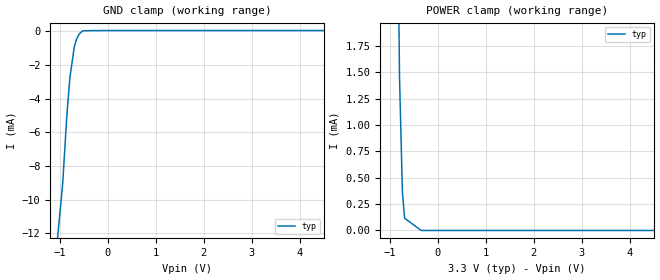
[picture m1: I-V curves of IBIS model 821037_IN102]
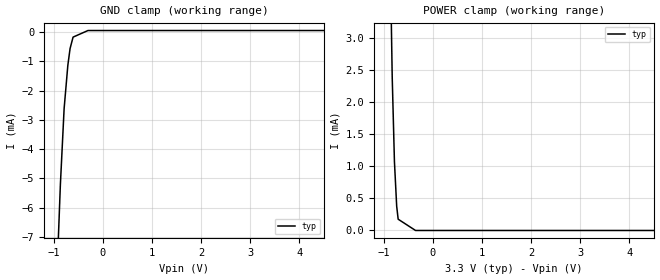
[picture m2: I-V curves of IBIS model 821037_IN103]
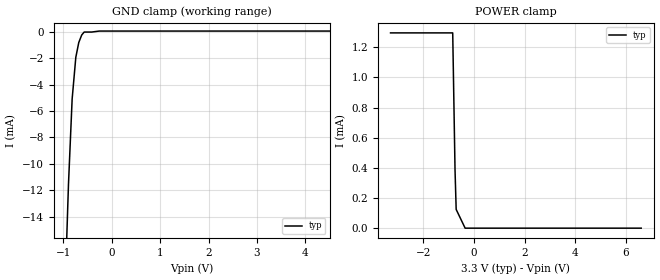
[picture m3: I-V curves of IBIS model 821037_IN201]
| COPYRIGHT(C) MENTOR GRAPHICS CORPORATION 2002 ALL
| RIGHTS RESERVED. THIS WORK CONTAINS PROPRIETARY
| INFORMATION WHICH IS THE PROPERTY OF MENTOR GRAPHICS
| CORPORATION OR ITS LICENSORS. USE OF THESE MATERIALS
| IS SUBJECT TO THE TERMS BELOW.
| USE: MENTOR GRAPHICS HAS LICENSED IBIS MODELS TO
| SPECIFIC INTEGRATED CIRCUIT SUPPLIERS ("IC VENDORS")
| FOR USE AND DISTRIBUTION AS FOLLOWS: EACH IC VENDOR
| MAY USE IBIS MODELS, AND DISTRIBUTE THEM TO IC VENDOR'S
| CUSTOMERS TO USE, SOLELY FOR DEVELOPING PRINTED
| CIRCUIT BOARD DESIGNS. NO OTHER USE OR DISTRIBUTION
| OF THESE MATERIALS IS PERMITTED.
| DISCLAIMER OF WARRANTY:  UNLESS OTHERWISE AGREED
| IN WRITING, MENTOR GRAPHICS SOFTWARE AND ASSOCIATED
| FILES ARE PROVIDED "AS IS" AND WITHOUT WARRANTY.
| MENTOR GRAPHICS HAS NO OBLIGATION TO SUPPORT OR
| OTHERWISE MAINTAIN SOFTWARE.  MENTOR GRAPHICS MAKES
| NO WARRANTIES, EXPRESS OR IMPLIED WITH RESPECT TO
| SOFTWARE INCLUDING ANY WARRANTY OF MERCHANTABILITY
| OR FITNESS FOR A PARTICULAR PURPOSE.
| LIMITATION OF LIABILITY:  MENTOR GRAPHICS IS NOT LIABLE FOR
| ANY PROPERTY DAMAGE, PERSONAL INJURY, LOSS OF PROFITS,
| INTERRUPTION OF BUSINESS, OR FOR ANY OTHER SPECIAL,
| CONSEQUENTIAL OR INCIDENTAL DAMAGES, HOWEVER CAUSED,
| WHETHER FOR BREACH OF WARRANTY, CONTRACT, TORT
| (INCLUDING NEGLIGENCE), STRICT LIABILITY OR OTHERWISE. IN NO
| EVENT SHALL MENTOR GRAPHICS' LIABILITY EXCEED THE AMOUNT
| PAID FOR THE PRODUCT GIVING RISE TO THE CLAIM.
| TRADEMARKS:  THE FOLLOWING ARE REGISTERED TRADEMARKS
| OR SERVICE MARKS OF MENTOR GRAPHICS CORPORATION:
| ICX, ICX STANDARD LIBRARY, ICX PROJECT MODELING,
| AND ICX CUSTOM MODELING.  THE FOLLOWING ARE TRADEMARKS
| OR SERVICE MARKS OF MENTOR GRAPHICS CORPORATION:
| QUALITYIBIS, MODELVIEWER, AND MODELEDITOR. ALL OTHER
| BRANDS AND PRODUCT NAMES ARE TRADEMARKS OF THEIR
| RESPECTIVE OWNERS.
| COPIES:  ALL COPIES OF SOFTWARE, INCLUDING BUT NOT LIMITED
| TO ANY MODIFICATIONS, ENHANCEMENTS OR DERIVATIVE WORKS
| MUST CONTAIN ALL MENTOR GRAPHICS' NOTICES AND LEGENDS,
| INCLUDING THOSE EMBEDDED IN SOFTWARE AND THOSE AFFIXED
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[IBIS Ver] 3.1
[File Name] nbsg53amn_33_800.ibs
[File Rev] 1.0
[Source] Derived from nbsg53mn_25_800.ibs Measured and
|   created by ICX Technology
[Date] 8/29/2003
[Copyright]
| COPYRIGHT(C) MENTOR GRAPHICS CORPORATION 2002 ALL
| RIGHTS RESERVED. THIS WORK CONTAINS PROPRIETARY
| INFORMATION WHICH IS THE PROPERTY OF MENTOR GRAPHICS
| CORPORATION OR ITS LICENSORS. USE OF THESE MATERIALS
| IS SUBJECT TO THE TERMS BELOW.
| USE: MENTOR GRAPHICS HAS LICENSED IBIS MODELS TO
| SPECIFIC INTEGRATED CIRCUIT SUPPLIERS ("IC VENDORS")
| FOR USE AND DISTRIBUTION AS FOLLOWS: EACH IC VENDOR
| MAY USE IBIS MODELS, AND DISTRIBUTE THEM TO IC VENDOR'S
| CUSTOMERS TO USE, SOLELY FOR DEVELOPING PRINTED
| CIRCUIT BOARD DESIGNS. NO OTHER USE OR DISTRIBUTION
| OF THESE MATERIALS IS PERMITTED.
|  ZAP Model Builder 3.2
[Component] NBSG53AMN_33_800
[Manufacturer] OnSemiconductor
[Package]
| variable   typ   min   max
R_pkg  .041ohms NA NA
L_pkg  0.797nH NA NA
C_pkg  0.131pF NA NA
[Pin] signal_name  model_name  R_pin  L_pin C_pin
1 _VTCLK NC   0.043 0.8418n 0.1483p
2 _CLK 821037_IN301  0.0395 0.7557n 0.1145p
3 CLK 821037_IN201   0.0395 0.755n 0.1192p
4 VTCLK NC   0.043 0.8427n 0.1486p
5 _VTD NC   0.043 0.8451n 0.1474p
6 _D 821037_IN102   0.0395 0.756n 0.1156p
7 D 821037_IN103   0.0395 0.7551n 0.1165p
8 VTD NC   0.043 0.8432n 0.1485p
9 VCC POWER   0.043 0.8418n 0.1468p
10 Q 821037_OUT204   0.0395 0.7533n 0.1136p
11 _Q 821037_OUT204  0.0395 0.7524n 0.1148p
12 VEE POWER   0.043 0.8415n 0.1528p
13 OLS 821037_IN404  0.043 0.8426n 0.1473p
14 SEL 821037_IN403  0.0395 0.7536n 0.1164p
15 R 821037_IN402   0.0395 0.7514n 0.118p
16 VCC POWER   0.043 0.8412n 0.1487p
[Diff Pin] inv_pin vdiff tdelay_typ tdelay_min tdelay_max
7 6 200mV NA NA NA
4 3 200mV NA NA NA
10 11 NA NA NA NA
[Series Pin Mapping]   pin_2   model_name
5 6 series_r_50
8 7 series_r_50
4 3 series_r_50
1 2 series_r_50
[Model] series_r_50
Model_type Series
C_comp  0  NA  NA
[Voltage range] 0  NA  NA
|   typ  min  max
[R series] 50   45   55
| Models and submodels in the file (9): series_r_50 (Series), 821037_IN102 (Input_ECL), 821037_IN103 (Input_ECL), 821037_IN201 (Input_ECL), 821037_IN301 (Input_ECL), 821037_IN402 (Input), 821037_IN403 (Input), 821037_IN404 (Input), 821037_OUT204 (Output_ECL)
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| COPYRIGHT(C) MENTOR GRAPHICS CORPORATION 2002 ALL
| RIGHTS RESERVED. THIS WORK CONTAINS PROPRIETARY
| INFORMATION WHICH IS THE PROPERTY OF MENTOR GRAPHICS
| CORPORATION OR ITS LICENSORS. USE OF THESE MATERIALS
| IS SUBJECT TO THE TERMS BELOW.
| USE: MENTOR GRAPHICS HAS LICENSED IBIS MODELS TO
| SPECIFIC INTEGRATED CIRCUIT SUPPLIERS ("IC VENDORS")
| FOR USE AND DISTRIBUTION AS FOLLOWS: EACH IC VENDOR
| MAY USE IBIS MODELS, AND DISTRIBUTE THEM TO IC VENDOR'S
| CUSTOMERS TO USE, SOLELY FOR DEVELOPING PRINTED
| CIRCUIT BOARD DESIGNS. NO OTHER USE OR DISTRIBUTION
| OF THESE MATERIALS IS PERMITTED.
| Model Application Version 1.89 2/18/99.
[Model] 821037_IN102
Model_type Input_ECL
Vinl = 1.575V
Vinh = 1.725V
C_comp 500.0fF NA NA
| variable typ   min   max
[Voltage Range] 3.300V NA NA
[GND Clamp Reference] 0.000V NA NA
[POWER Clamp Reference] 3.300V NA NA
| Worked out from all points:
|   GND clamp passes 1 mA (typ) near -0.70 V on its own axis
|   POWER clamp passes 1 mA (typ) near -0.77 V on its own axis
[GND Clamp]
-3.3V     -79.91mA   NA         NA
-942.8mV  -9.104mA   NA         NA
-851.5mV  -4.856mA   NA         NA
-790.6mV  -2.732mA   NA         NA
-699.6mV  -920.5uA   NA         NA
-654mV    -460.1uA   NA         NA
-598mV    -148.8uA   NA         NA
-507mV    45.8uA     NA         NA
6.6V      55.38uA    NA         NA
[POWER Clamp]
-3.3V     113.8mA    NA         NA
-799.4mV  1.459mA    NA         NA
-738.4mV  363.2uA    NA         NA
-692.8mV  115.8uA    NA         NA
-346.4mV  0A         NA         NA
6.6V      0A         NA         NA
| COPYRIGHT(C) MENTOR GRAPHICS CORPORATION 2002 ALL
| RIGHTS RESERVED. THIS WORK CONTAINS PROPRIETARY
| INFORMATION WHICH IS THE PROPERTY OF MENTOR GRAPHICS
| CORPORATION OR ITS LICENSORS. USE OF THESE MATERIALS
| IS SUBJECT TO THE TERMS BELOW.
| USE: MENTOR GRAPHICS HAS LICENSED IBIS MODELS TO
| SPECIFIC INTEGRATED CIRCUIT SUPPLIERS ("IC VENDORS")
| FOR USE AND DISTRIBUTION AS FOLLOWS: EACH IC VENDOR
| MAY USE IBIS MODELS, AND DISTRIBUTE THEM TO IC VENDOR'S
| CUSTOMERS TO USE, SOLELY FOR DEVELOPING PRINTED
| CIRCUIT BOARD DESIGNS. NO OTHER USE OR DISTRIBUTION
| OF THESE MATERIALS IS PERMITTED.
| Model Application Version 1.89 2/18/99.
[Model] 821037_IN103
Model_type Input_ECL
Vinl = 1.575V
Vinh = 1.725V
C_comp 500.0fF NA NA
| variable typ   min   max
[Voltage Range] 3.300V NA NA
[GND Clamp Reference] 0.000V NA NA
[POWER Clamp Reference] 3.300V NA NA
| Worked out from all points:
|   GND clamp passes 1 mA (typ) near -0.70 V on its own axis
|   POWER clamp passes 1 mA (typ) near -0.78 V on its own axis
[GND Clamp]
-3.3V     -113.1mA   NA         NA
-866.9mV  -5.214mA   NA         NA
-790.6mV  -2.615mA   NA         NA
-714.7mV  -1.132mA   NA         NA
-669.1mV  -561uA     NA         NA
-608.2mV  -171uA     NA         NA
-304.1mV  54.13uA    NA         NA
6.6V      54.13uA    NA         NA
[POWER Clamp]
-3.3V     118.1mA    NA         NA
-829.6mV  2.391mA    NA         NA
-784.1mV  1.071mA    NA         NA
-738.4mV  377.6uA    NA         NA
-708.2mV  175.1uA    NA         NA
-354.1mV  0A         NA         NA
6.6V      0A         NA         NA
| COPYRIGHT(C) MENTOR GRAPHICS CORPORATION 2002 ALL
| RIGHTS RESERVED. THIS WORK CONTAINS PROPRIETARY
| INFORMATION WHICH IS THE PROPERTY OF MENTOR GRAPHICS
| CORPORATION OR ITS LICENSORS. USE OF THESE MATERIALS
| IS SUBJECT TO THE TERMS BELOW.
| USE: MENTOR GRAPHICS HAS LICENSED IBIS MODELS TO
| SPECIFIC INTEGRATED CIRCUIT SUPPLIERS ("IC VENDORS")
| FOR USE AND DISTRIBUTION AS FOLLOWS: EACH IC VENDOR
| MAY USE IBIS MODELS, AND DISTRIBUTE THEM TO IC VENDOR'S
| CUSTOMERS TO USE, SOLELY FOR DEVELOPING PRINTED
| CIRCUIT BOARD DESIGNS. NO OTHER USE OR DISTRIBUTION
| OF THESE MATERIALS IS PERMITTED.
| Model Application Version 1.89 2/18/99.
[Model] 821037_IN201
Model_type Input_ECL
Vinl = 1.575V
Vinh = 1.725V
C_comp 500.0fF NA NA
| variable typ   min   max
[Voltage Range] 3.300V NA NA
[GND Clamp Reference] 0.000V NA NA
[POWER Clamp Reference] 3.300V NA NA
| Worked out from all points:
|   GND clamp passes 1 mA (typ) near -0.69 V on its own axis
|   POWER clamp passes 1 mA (typ) near -0.81 V on its own axis
[GND Clamp]
-3.3V     -284.9mA   NA         NA
-897.1mV  -11.55mA   NA         NA
-821.3mV  -5.095mA   NA         NA
-745.3mV  -1.934mA   NA         NA
-684.3mV  -815.5uA   NA         NA
-623.7mV  -248.9uA   NA         NA
-572.9mV  -23.1uA    NA         NA
-417mV    -23.1uA    NA         NA
-261.1mV  52.21uA    NA         NA
6.6V      52.21uA    NA         NA
[POWER Clamp]
-3.3V     1.296mA    NA         NA
-844.6mV  1.296mA    NA         NA
-753.6mV  388.7uA    NA         NA
-708.1mV  124.3uA    NA         NA
-354.1mV  0A         NA         NA
6.6V      0A         NA         NA
